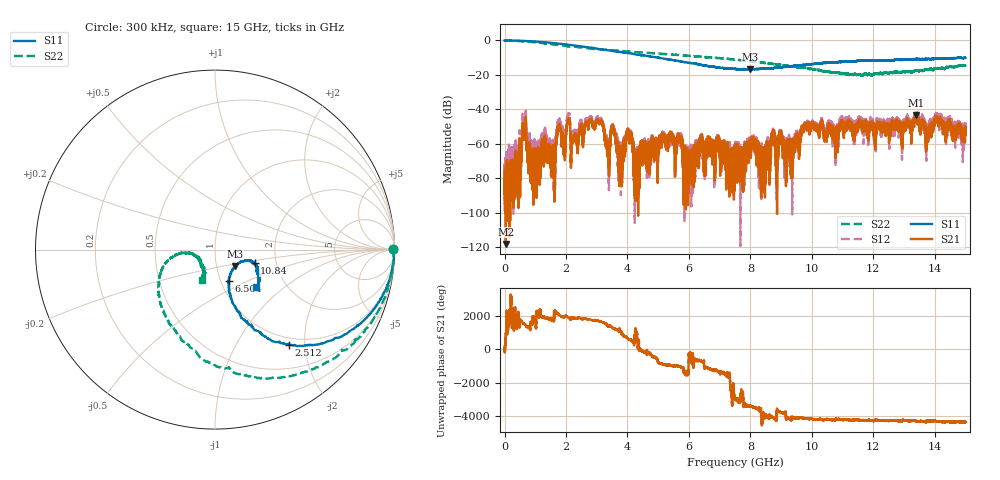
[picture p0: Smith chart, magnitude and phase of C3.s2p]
!Agilent Technologies,N5230C,SG49000117,A.08.50.07
!Agilent N5230C: A.08.50.07
!Date: Monday, December 11, 2023 22:59:41
!Correction: S11(Full 2 Port(1,2))
!S21(Full 2 Port(1,2))
!S12(Full 2 Port(1,2))
!S22(Full 2 Port(1,2))
!S2P File: Measurements: S11, S21, S12, S22:
# Hz S  RI  R 50
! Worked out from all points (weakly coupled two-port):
!   20001 points, 300 kHz to 15 GHz, reference 50 ohm
!   highest |S21| = -43.29 dB at 13.39 GHz (marker M1); lowest = -118.2 dB at 40.05 MHz (marker M2)
!   lowest |S11| = -16.8 dB at 7.994 GHz (marker M3), VSWR 1.34, Z = 61.4 - j11.5 ohm
!   |S11| at or under -10 dB: 4.998 GHz to 14.79 GHz (9.789 GHz wide, 99 % of centre); 14.83412 GHz to 14.84159 GHz (7.468 MHz wide, 0.0503 % of centre); 14.84 GHz to end of sweep (the widest 3 of 18)
!   |S22| runs from -20.5 to 0.0 dB; largest |S21 - S12| = 0.0052
!   S11 on the Smith chart (normalised r, x): 300 kHz: open; 2.512 GHz: 0.88, -1.68; 6.504 GHz: 1.09, -0.39; 10.84 GHz: 1.54, -0.25; 15 GHz: 1.43, -0.66
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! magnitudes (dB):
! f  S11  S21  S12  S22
! 300 kHz  -0.1  -75.3  -75.3  -0.1
! 40.05 MHz  0.0  -118.2  -71.3  0.0
! 453.3 MHz  -0.1  -73.1  -63.4  -0.3
! 640 MHz  -0.3  -56.0  -51.0  -0.5
! 1.08 GHz  -0.7  -69.2  -62.3  -1.2
! 1.767 GHz  -1.9  -50.7  -46.7  -2.7
! 2.501 GHz  -3.5  -49.1  -47.2  -4.0
! 2.512 GHz  -3.5  -50.0  -47.4  -4.0
! 3.53 GHz  -6.1  -49.8  -48.8  -5.8
! 3.78 GHz  -6.7  -65.3  -62.2  -6.1
! 4.058 GHz  -7.5  -59.6  -58.5  -6.5
! 4.301 GHz  -8.2  -68.8  -68.0  -6.8
! 5 GHz  -10.0  -62.0  -61.0  -7.7
! 6.504 GHz  -14.5  -75.2  -68.1  -9.6
! 7.5 GHz  -16.5  -72.7  -66.6  -11.1
! 7.994 GHz  -16.8  -64.1  -60.2  -12.0
! 8.367 GHz  -16.5  -64.3  -70.2  -12.8
! 10 GHz  -13.7  -47.9  -48.0  -16.5
! 10.84 GHz  -12.6  -53.7  -51.4  -18.7
! 12.5 GHz  -11.5  -52.3  -51.2  -19.0
! 13.39 GHz  -10.8  -43.3  -43.7  -17.5
! 15 GHz  -10.1  -52.6  -53.7  -14.5
